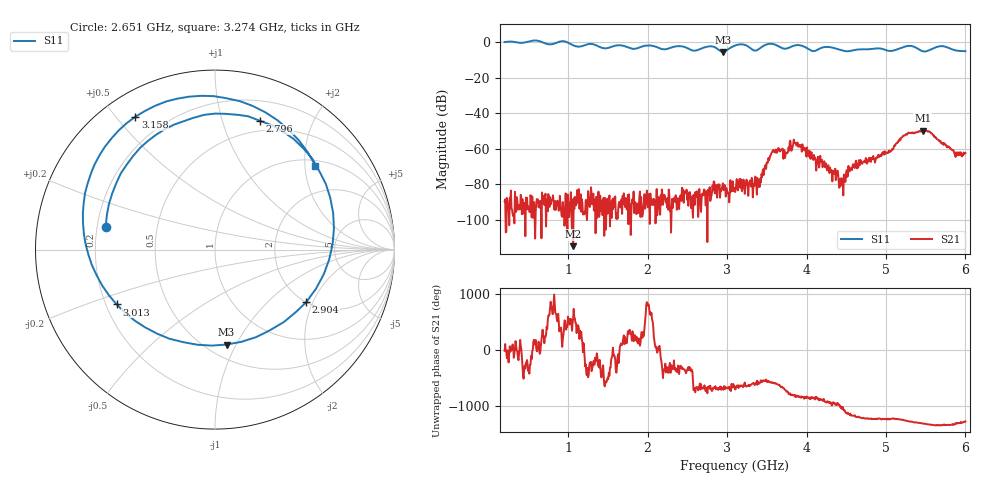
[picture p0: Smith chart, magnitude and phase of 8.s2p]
! NanoVNA-App
! Date: 2024-06-25 16:10:53
! Start: 200MHz Stop: 6GHz Points: 801
! S-Parameter data: F S11 S21 S12 S22
# Hz S RI R 50
!  Frequency  S11_Real  S11_Imag  S21_Real  S21_Imag  S12_Real  S12_Imag  S22_Real  S22_Imag
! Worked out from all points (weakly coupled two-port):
!   801 points, 200 MHz to 6 GHz, reference 50 ohm
!   highest |S21| = -49.83 dB at 5.463 GHz (marker M1); lowest = -115.0 dB at 1.063 GHz (marker M2)
!   lowest |S11| = -5.5 dB at 2.948 GHz (marker M3), VSWR 3.28, Z = 31 - j45.8 ohm
!   |S11| at or under -10 dB: nowhere
!   S12 and S22 are empty: the file has one direction only
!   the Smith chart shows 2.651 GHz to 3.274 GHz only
!   S11 on the Smith chart (normalised r, x): 2.651 GHz: 0.24, +0.10; 2.796 GHz: 0.39, +1.33; 2.904 GHz: 2.00, -1.79; 3.013 GHz: 0.24, -0.25; 3.158 GHz: 0.10, +0.56; 3.274 GHz: 1.13, +2.26
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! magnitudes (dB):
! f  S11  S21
! 200 MHz  0.0  -89.7
! 1.063 GHz  -1.8  -115.0
! 1.171 GHz  -2.3  -88.4
! 2.136 GHz  -3.1  -87.3
! 2.651 GHz  -4.1  -82.8
! 2.796 GHz  -2.4  -88.3
! 2.904 GHz  -4.6  -80.2
! 2.948 GHz  -5.5  -79.6
! 3.013 GHz  -4.0  -84.8
! 3.1 GHz  -1.9  -84.5
! 3.158 GHz  -1.3  -77.2
! 3.274 GHz  -2.7  -80.7
! 3.397 GHz  -4.0  -81.4
! 3.586 GHz  -1.1  -60.7
! 3.861 GHz  -1.8  -56.9
! 4.072 GHz  -5.0  -65.7
! 4.434 GHz  -4.5  -80.8
! 4.593 GHz  -4.5  -70.2
! 5.036 GHz  -4.9  -61.2
! 5.231 GHz  -2.7  -52.7
! 5.463 GHz  -5.1  -49.8
! 6 GHz  -5.1  -62.5
